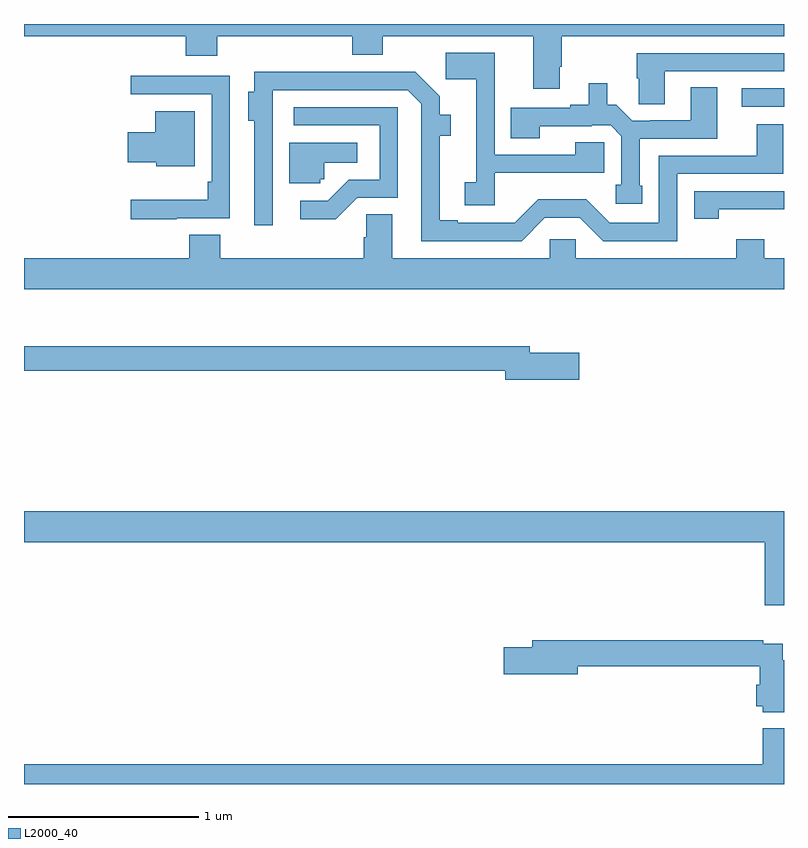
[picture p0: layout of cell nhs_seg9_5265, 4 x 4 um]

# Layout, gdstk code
import gdstk
lib = gdstk.Library(unit=1e-6, precision=1e-09)
def R(c, l, rs):  # rectangles x0, y0, x1, y1
    for r in rs: c.add(gdstk.rectangle(r[:2], r[2:], *l))
def P(c, l, *ps):  # polygons
    for p in ps: c.add(gdstk.Polygon(p, *l))
L2000_40 = (2000, 40)

nhs_seg9_5265 = lib.new_cell('nhs_seg9_5265')
R(nhs_seg9_5265, L2000_40, [(420.777,1180.065,421,1180.161)])
P(nhs_seg9_5265, L2000_40, [(419.821,1180.276),(419.829,1180.276),(419.829,1180.436),(421,1180.436),(421,1180.5),(417,1180.5),(417,1180.436),(417.851,1180.436),(417.851,1180.334),(418.016,1180.334),(418.016,1180.436),(418.727,1180.436),(418.727,1180.337),(418.887,1180.337),(418.887,1180.436),(419.681,1180.436),(419.681,1180.158),(419.821,1180.158)],
  [(419.478,1179.716),(419.945,1179.716),(419.945,1179.717),(420.055,1179.717),(420.055,1179.878),(419.902,1179.878),(419.902,1179.813),(419.478,1179.813),(419.478,1180.348),(419.22,1180.348),(419.22,1180.209),(419.381,1180.209),(419.381,1179.666),(419.319,1179.666),(419.319,1179.546),(419.478,1179.546)],
  [(420.373,1180.251),(421,1180.251),(421,1180.347),(420.226,1180.347),(420.226,1180.215),(420.235,1180.215),(420.235,1180.078),(420.373,1180.078)],
  [(419.742,1179.48),(419.925,1179.48),(420.048,1179.357),(420.438,1179.357),(420.438,1179.711),(420.997,1179.711),(420.997,1179.973),(420.857,1179.973),(420.857,1179.807),(420.342,1179.807),(420.342,1179.453),(420.084,1179.453),(419.96,1179.577),(419.706,1179.577),(419.582,1179.453),(419.284,1179.453),(419.284,1179.466),(419.188,1179.466),(419.188,1179.912),(419.245,1179.912),(419.245,1180.022),(419.189,1180.022),(419.189,1180.12),(419.059,1180.25),(418.958,1180.25),(418.958,1180.248),(418.643,1180.248),(418.643,1180.25),(418.212,1180.25),(418.212,1180.144),(418.181,1180.144),(418.181,1179.992),(418.212,1179.992),(418.212,1179.441),(418.308,1179.441),(418.308,1180.152),(419.019,1180.152),(419.091,1180.08),(419.091,1179.357),(419.619,1179.357)],
  [(417.805,1179.477),(418.083,1179.477),(418.083,1180.227),(417.561,1180.227),(417.561,1180.131),(417.987,1180.131),(417.987,1179.67),(417.967,1179.67),(417.967,1179.574),(417.561,1179.574),(417.561,1179.473),(417.805,1179.473)],
  [(420.253,1179.648),(420.24,1179.648),(420.24,1179.897),(420.649,1179.897),(420.649,1180.166),(420.509,1180.166),(420.509,1179.993),(420.295,1179.993),(420.295,1179.99),(420.201,1179.99),(420.117,1180.074),(420.07,1180.074),(420.07,1180.189),(419.972,1180.189),(419.972,1180.074),(419.876,1180.074),(419.876,1180.059),(419.563,1180.059),(419.563,1179.898),(419.715,1179.898),(419.715,1179.963),(419.987,1179.963),(419.987,1179.966),(420.087,1179.966),(420.144,1179.909),(420.144,1179.654),(420.114,1179.654),(420.114,1179.555),(420.253,1179.555)],
  [(418.755,1179.585),(418.968,1179.585),(418.968,1180.062),(418.419,1180.062),(418.419,1179.966),(418.872,1179.966),(418.872,1179.681),(418.71,1179.681),(418.599,1179.57),(418.455,1179.57),(418.455,1179.473),(418.642,1179.473)],
  [(417.898,1180.042),(417.692,1180.042),(417.692,1179.931),(417.546,1179.931),(417.546,1179.773),(417.696,1179.773),(417.696,1179.752),(417.898,1179.752)],
  [(418.56,1179.684),(418.581,1179.684),(418.581,1179.77),(418.753,1179.77),(418.753,1179.874),(418.397,1179.874),(418.397,1179.663),(418.56,1179.663)],
  [(420.656,1179.524),(421,1179.524),(421,1179.621),(420.528,1179.621),(420.528,1179.474),(420.656,1179.474)],
  [(421,1179.268),(420.895,1179.268),(420.895,1179.367),(420.748,1179.367),(420.748,1179.268),(419.904,1179.268),(419.904,1179.366),(419.766,1179.366),(419.766,1179.268),(418.939,1179.268),(418.939,1179.5),(418.8,1179.5),(418.8,1179.377),(418.787,1179.377),(418.787,1179.268),(418.034,1179.268),(418.034,1179.392),(417.869,1179.392),(417.869,1179.268),(417,1179.268),(417,1179.104),(421,1179.104)],
  [(419.923,1178.769),(419.662,1178.769),(419.662,1178.803),(417,1178.803),(417,1178.674),(419.534,1178.674),(419.534,1178.627),(419.923,1178.627)],
  [(421,1177.936),(417,1177.936),(417,1177.772),(420.898,1177.772),(420.898,1177.44),(421,1177.44)],
  [(421,1177.152),(420.994,1177.152),(420.994,1177.238),(420.89,1177.238),(420.89,1177.256),(419.675,1177.256),(419.675,1177.22),(419.526,1177.22),(419.526,1177.078),(419.914,1177.078),(419.914,1177.12),(420.872,1177.12),(420.872,1177.023),(420.854,1177.023),(420.854,1176.909),(420.888,1176.909),(420.888,1176.878),(421,1176.878)],
  [(421,1176.793),(420.887,1176.793),(420.887,1176.604),(417,1176.604),(417,1176.5),(421,1176.5)])

lib.write_gds('nhs_seg9_5265.gds')
